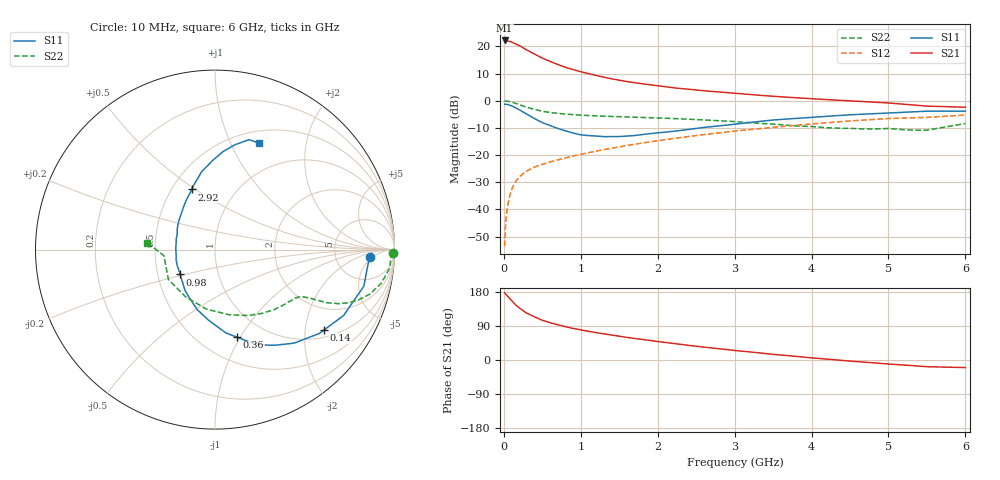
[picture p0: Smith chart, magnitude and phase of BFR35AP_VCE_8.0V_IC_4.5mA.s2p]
! Infineon Technologies  Discrete & RF Semiconductors
! BFR35AP
! VCE =  8.0 V,  IC =  4.5 mA
! Common Emitter S-Parameters:  Nov 2015
# GHz  S  MA  R  50
!  f  S11  S21  S12  S22
! GHz  MAG  ANG  MAG  ANG  MAG  ANG  MAG  ANG
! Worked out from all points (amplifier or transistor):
!   210 points, 10 MHz to 6 GHz, reference 50 ohm
!   highest |S21| = 22.2 dB at 10 MHz (marker M1)
!   |S21| within 3 dB of that: start of sweep to 268.9 MHz
!   unconditionally stable (mu >= 1): 886.9 MHz to 3.082 GHz
!   at 185 MHz: K = 0.34, MSG = 24.6 dB, |S12| = -28.6 dB
!   at 1.52 GHz: K = 1.11, MAG = 10.2 dB, |S12| = -16.9 dB
!   at 6 GHz: K = 0.91, MSG = 1.4 dB, |S12| = -5.3 dB
!   S11 on the Smith chart (normalised r, x): 10 MHz: 12, -4; 140 MHz: 1.22, -2.53; 360 MHz: 0.74, -0.97; 980 MHz: 0.65, -0.19; 2.92 GHz: 0.63, +0.48; 6 GHz: 0.64, +1.29
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0.01  0.863 -2.7  12.85 177.4  0.0021 91.9  0.994 -1.1
0.02  0.8563 -5.5  12.58 174.9  0.0046 91.0  0.9809 -2.4
0.04  0.8528 -11.0  12.57 170.3  0.0094 84.0  0.9795 -4.8
0.1  0.8051 -27.1  12.12 156.9  0.0228 76.4  0.9446 -11.5
0.14  0.755 -36.3  11.32 148.4  0.0302 71.0  0.9073 -15.1
0.2  0.6819 -49.9  10.39 137.3  0.0392 66.3  0.8465 -19.4
0.24  0.631 -57.5  9.626 131.3  0.0442 63.1  0.8064 -21.4
0.3  0.5655 -67.7  8.541 123.4  0.051 60.5  0.7554 -23.5
0.36  0.5027 -76.0  7.698 117.8  0.0564 58.8  0.716 -24.6
0.4  0.4678 -82.6  7.185 113.4  0.0601 57.8  0.6899 -25.4
0.5  0.3952 -95.2  6.074 104.7  0.0674 56.9  0.6384 -26.3
0.6  0.3502 -106.1  5.266 98.4  0.0746 56.8  0.6063 -26.8
0.8  0.2805 -126.8  4.121 87.9  0.0887 57.0  0.567 -27.8
0.98  0.2383 -144.5  3.472 80.2  0.1013 58.1  0.5435 -28.9
1.02  0.2333 -148.9  3.357 78.7  0.1042 58.2  0.5395 -29.2
1.4  0.2189 178.7  2.525 65.8  0.1331 58.7  0.5138 -33.1
2.02  0.2575 141.5  1.859 48.3  0.1853 56.9  0.4793 -42.0
2.92  0.3594 111.3  1.397 27.0  0.2677 50.7  0.4181 -60.7
3.1  0.3836 107.4  1.331 23.3  0.2847 48.9  0.4027 -65.6
4.1  0.5058 90.3  1.067 4.0  0.3829 38.2  0.3259 -102.5
5.1  0.604 77.8  0.884 -11.9  0.4736 24.3  0.2994 -152.1
6  0.6425 67.5  0.758 -20.0  0.5446 13.3  0.3793 174.2
